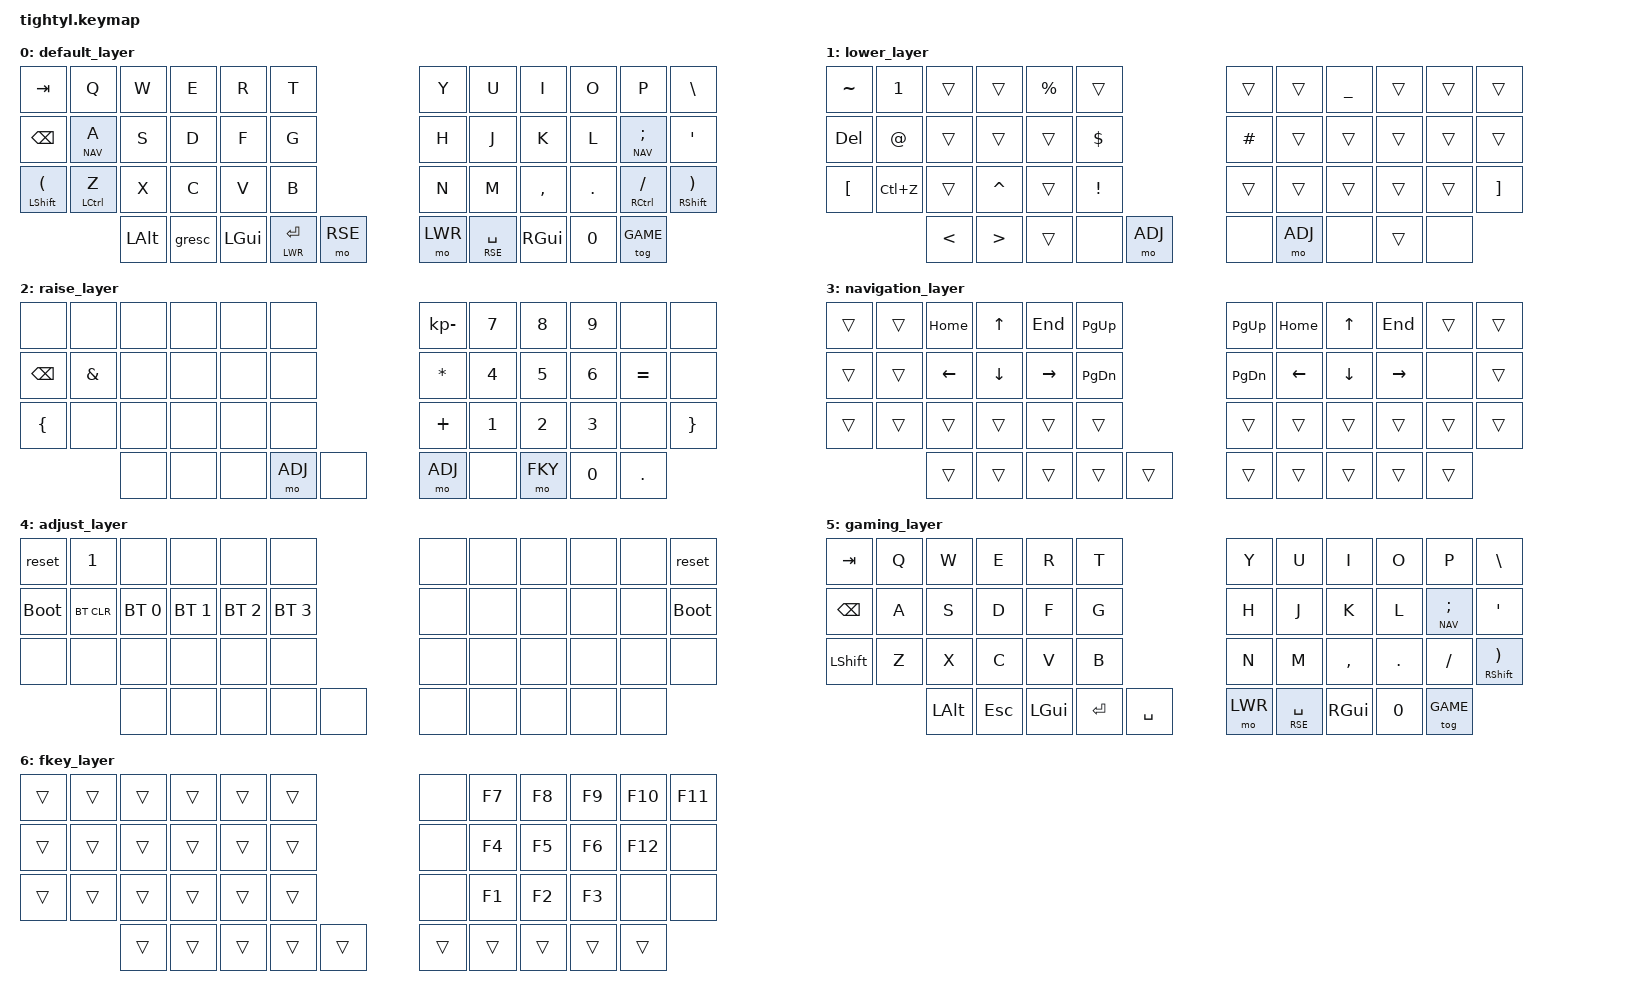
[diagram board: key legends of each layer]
#include <behaviors.dtsi>
#include <dt-bindings/zmk/keys.h>
#include <dt-bindings/zmk/bt.h>
// #include <dt-bindings/zmk/ext_power.h>

#define DEF 0
#define LWR 1
#define RSE 2
#define NAV 3
#define ADJ 4
#define GAME  5
#define FKY  6

/ {
    keymap {
        compatible = "zmk,keymap";
        default_layer {
			bindings = <
				&kp TAB   	   &kp Q       &kp W    &kp E  &kp R    &kp T         		   											&kp Y    	  &kp U    &kp I     &kp O     &kp P          &kp BSLH
				&kp BSPC  	   &lt NAV A   &kp S    &kp D  &kp F    &kp G             	       	 									&kp H     	  &kp J    &kp K     &kp L     &lt NAV SEMI   &kp SQT
				&mt LSHFT LPAR &mt LCTRL Z &kp X    &kp C  &kp V    &kp B                      	    								&kp N         &kp M    &kp COMMA &kp DOT   &mt RCTRL FSLH &mt RSHFT RPAR
										   &kp LALT &gresc 				&kp LGUI &lt LWR RET &mo RSE 		&mo LWR &lt RSE SPACE &kp RGUI 			  	   &kp N0    &tog GAME
            >;
        };
        lower_layer {
			bindings = <		
				&kp TILDE &kp N1    &trans  &trans     &kp PRCNT &trans                 										 &trans   &trans &kp UNDER &trans &trans &trans
				&kp DEL   &kp AT    &trans  &trans     &trans    &kp DLLR      		   	 										 &kp HASH &trans &trans    &trans &trans &trans
				&kp LBKT  &kp LC(Z) &trans  &kp CARET  &trans    &kp EXCL              											 &trans   &trans &trans    &trans &trans &kp RBKT
									&kp LT  &kp GT     					&trans    &none    &mo ADJ 	   	&none    &mo ADJ   &none  						   &trans &none
            >;
        };
        raise_layer {
			bindings = <
				&none     &none    &none &none   &none &none        									 &kp KP_MINUS &kp N7  &kp N8 &kp N9  &none     &none
				&kp BSPC  &kp AMPS &none &none   &none &none      	 									 &kp ASTRK    &kp N4  &kp N5 &kp N6  &kp EQUAL &none
				&kp LBRC  &none    &none &none   &none &none           				 					 &kp PLUS     &kp N1  &kp N2 &kp N3  &none     &kp RBRC
								   &none &none   			&none &mo ADJ &none 	 	&mo ADJ &none &mo FKY 		  			  &kp N0 &kp DOT          
            >;
        };
        navigation_layer {
			bindings = <
				&trans &trans &kp HOME &kp UP   &kp END   &kp PG_UP        				   &kp PG_UP &kp HOME &kp UP   &kp END   &trans &trans
				&trans &trans &kp LEFT &kp DOWN &kp RIGHT &kp PG_DN      				   &kp PG_DN &kp LEFT &kp DOWN &kp RIGHT &none  &trans
				&trans &trans &trans   &trans   &trans    &trans              		     &trans 	 &trans   &trans   &trans    &trans &trans
							  &trans   &trans   &trans    &trans &trans			&trans &trans 	 &trans   &trans   &trans        
            >;
        }; 
        adjust_layer {
			// each layer needs to have atleast one regular key
			bindings = <
				&reset      &kp N1     &none        &none 		 &none 		  &none 	  											      &none &none &none &none &none &reset
				&bootloader &bt BT_CLR &bt BT_SEL 0 &bt BT_SEL 1 &bt BT_SEL 2 &bt BT_SEL 3 								 			  	  &none &none &none &none &none &bootloader
				&none 	    &none 	   &none 		&none        &none 	   	  &none        												  &none &none &none &none &none &none
								       &none 		&none       					&none &none  &none					&none &none &none 			  &none &none
            >;
		};
		gaming_layer {
			// no funky layer business on left hand. Right hand layers are kept to allow typing special characters

			// having raise / lower on both halves comes in handy here on the right hand

			bindings = <
				&kp TAB   &kp Q &kp W    &kp E   &kp R    &kp T         		   											&kp Y         &kp U    &kp I     &kp O    &kp P          &kp BSLH
				&kp BSPC  &kp A	&kp S    &kp D   &kp F    &kp G             	   											&kp H         &kp J    &kp K     &kp L    &lt NAV SEMI   &kp SQT
				&kp LSHFT &kp Z &kp X    &kp C   &kp V    &kp B                	 	  								    	&kp N         &kp M    &kp COMMA &kp DOT  &kp FSLH 	     &mt RSHFT RPAR
								&kp LALT &kp ESC			 &kp LGUI &kp RET &kp SPACE 		&mo LWR &lt RSE SPACE &kp RGUI 					   &kp N0    &tog GAME
            >;
		};
		fkey_layer {
			bindings = <
				&trans  &trans &trans &trans &trans &trans      	    				 				&none &kp F7  &kp F8 &kp F9  &kp F10 &kp F11
				&trans  &trans &trans &trans &trans &trans      	 					 				&none &kp F4  &kp F5 &kp F6  &kp F12 &none
				&trans  &trans &trans &trans &trans &trans           	 								&none &kp F1  &kp F2 &kp F3  &none &none
							   &trans &trans 				&trans &trans &trans		&trans &trans &trans					&trans &trans   
            >;
		};
    };
};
